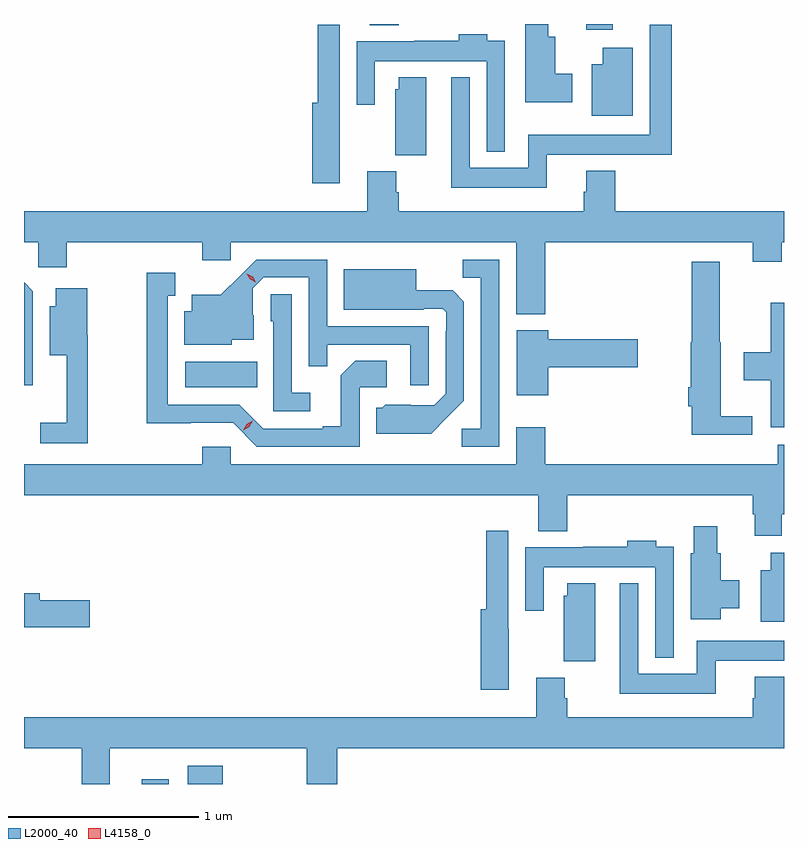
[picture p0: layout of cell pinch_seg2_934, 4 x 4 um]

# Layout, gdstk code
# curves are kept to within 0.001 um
import gdstk
lib = gdstk.Library(unit=1e-6, precision=1e-09)
def R(c, l, rs):  # rectangles x0, y0, x1, y1
    for r in rs: c.add(gdstk.rectangle(r[:2], r[2:], *l))
def P(c, l, *ps):  # polygons
    for p in ps: c.add(gdstk.Polygon(p, *l))
L2000_40 = (2000, 40)
L4158_0 = (4158, 0)

pinch_seg2_934 = lib.new_cell('pinch_seg2_934')
R(pinch_seg2_934, L2000_40, [(325.625,652.777,325.768,652.801), (325.868,652.777,326.053,652.873), (325.854,654.866,326.234,655), (327.965,656.748,328.105,656.777), (326.825,656.771,326.978,656.777)])
P(pinch_seg2_934, L2000_40, [(327.892,656.514),(327.802,656.514),(327.802,656.71),(327.766,656.71),(327.766,656.777),(327.644,656.777),(327.644,656.366),(327.892,656.366)],
  [(326.668,656.258),(326.667,656.258),(326.667,656.773),(326.551,656.773),(326.551,656.362),(326.522,656.362),(326.522,655.938),(326.668,655.938)],
  [(327.758,656.09),(328.292,656.09),(328.292,656.088),(328.415,656.088),(328.415,656.773),(328.299,656.773),(328.299,656.194),(327.66,656.194),(327.66,656.02),(327.351,656.02),(327.351,656.497),(327.254,656.497),(327.254,655.916),(327.758,655.916)],
  [(327.537,656.689),(327.445,656.689),(327.445,656.722),(327.293,656.722),(327.293,656.689),(327.061,656.689),(327.061,656.686),(326.757,656.686),(326.757,656.352),(326.853,656.352),(326.853,656.582),(327.441,656.582),(327.441,656.105),(327.537,656.105)],
  [(328.21,656.653),(328.052,656.653),(328.052,656.566),(327.995,656.566),(327.995,656.294),(328.21,656.294)],
  [(327.124,656.497),(326.978,656.497),(326.978,656.433),(326.96,656.433),(326.96,656.086),(327.124,656.086)],
  [(327.749,655.628),(328.841,655.628),(328.841,655.526),(328.994,655.526),(328.994,655.628),(329.006,655.628),(329.006,655.792),(328.118,655.792),(328.118,656.005),(327.965,656.005),(327.965,655.893),(327.953,655.893),(327.953,655.792),(326.978,655.792),(326.978,655.892),(326.965,655.892),(326.965,656.001),(326.813,656.001),(326.813,655.792),(325.006,655.792),(325.006,655.628),(325.08,655.628),(325.08,655.497),(325.232,655.497),(325.232,655.628),(325.943,655.628),(325.943,655.533),(326.094,655.533),(326.094,655.628),(327.596,655.628),(327.596,655.25),(327.749,655.25)],
  [(327.135,655.185),(326.601,655.185),(326.601,655.536),(326.228,655.536),(326.041,655.351),(325.889,655.351),(325.889,655.264),(325.85,655.264),(325.85,655.088),(326.1,655.088),(326.1,655.115),(326.215,655.115),(326.215,655.244),(326.211,655.244),(326.211,655.386),(326.268,655.443),(326.505,655.443),(326.505,654.976),(326.603,654.976),(326.603,655.089),(327.039,655.089),(327.039,654.876),(327.135,654.876)],
  [(327.507,655.536),(327.316,655.536),(327.316,655.441),(327.411,655.441),(327.411,654.648),(327.309,654.648),(327.309,654.552),(327.507,654.552)],
  [(328.84,654.713),(328.672,654.713),(328.672,655.101),(328.669,655.101),(328.669,655.525),(328.52,655.525),(328.52,655.101),(328.514,655.101),(328.514,654.865),(328.502,654.865),(328.502,654.765),(328.52,654.765),(328.52,654.614),(328.84,654.614)],
  [(327.229,654.701),(327.321,654.794),(327.321,655.316),(327.262,655.375),(327.07,655.375),(327.07,655.486),(326.69,655.486),(326.69,655.274),(327.11,655.274),(327.11,655.278),(327.21,655.278),(327.228,655.26),(327.228,655.16),(327.225,655.16),(327.225,654.831),(327.165,654.771),(326.908,654.772),(326.892,654.756),(326.861,654.756),(326.861,654.62),(327.149,654.62)],
  [(326.772,654.864),(326.914,654.864),(326.914,655.004),(326.749,655.004),(326.673,654.928),(326.673,654.661),(326.579,654.661),(326.579,654.648),(326.265,654.648),(326.139,654.774),(325.762,654.774),(325.762,655.347),(325.801,655.347),(325.801,655.468),(325.651,655.468),(325.651,654.677),(326.106,654.678),(326.232,654.552),(326.772,654.552)],
  [(325.053,655.371),(325.006,655.418),(325.006,654.876),(325.053,654.876)],
  [(325.342,655.138),(325.338,655.138),(325.338,655.387),(325.172,655.387),(325.172,655.291),(325.142,655.291),(325.142,655.034),(325.232,655.034),(325.232,654.679),(325.092,654.679),(325.092,654.57),(325.342,654.57)],
  [(326.512,654.835),(326.415,654.835),(326.415,655.355),(326.304,655.355),(326.304,655.212),(326.319,655.212),(326.319,654.738),(326.512,654.738)],
  [(329.006,655.31),(328.936,655.31),(328.936,655.05),(328.794,655.05),(328.794,654.902),(328.936,654.902),(328.936,654.654),(329.006,654.654)],
  [(327.766,654.971),(328.237,654.971),(328.237,655.118),(327.766,655.118),(327.766,655.165),(327.599,655.165),(327.599,654.822),(327.766,654.822)],
  [(328.993,654.198),(329.006,654.198),(329.006,654.562),(328.973,654.562),(328.973,654.46),(327.749,654.46),(327.749,654.655),(327.596,654.655),(327.596,654.46),(326.094,654.46),(326.094,654.553),(325.943,654.553),(325.943,654.46),(325.006,654.46),(325.006,654.296),(327.713,654.296),(327.713,654.107),(327.866,654.107),(327.866,654.296),(328.841,654.296),(328.841,654.198),(328.853,654.198),(328.853,654.084),(328.993,654.084)],
  [(328.672,653.702),(328.771,653.702),(328.771,653.85),(328.672,653.85),(328.672,653.991),(328.654,653.991),(328.654,654.133),(328.532,654.133),(328.532,653.991),(328.514,653.991),(328.514,653.643),(328.672,653.643)],
  [(327.556,653.594),(327.555,653.594),(327.555,654.109),(327.439,654.109),(327.439,653.698),(327.41,653.698),(327.41,653.274),(327.556,653.274)],
  [(328.425,654.025),(328.333,654.025),(328.333,654.058),(328.181,654.058),(328.181,654.025),(327.949,654.025),(327.949,654.022),(327.645,654.022),(327.645,653.688),(327.741,653.688),(327.741,653.918),(328.329,653.918),(328.329,653.441),(328.425,653.441)],
  [(329.006,653.995),(328.937,653.995),(328.937,653.902),(328.883,653.902),(328.883,653.63),(329.006,653.63)],
  [(328.012,653.833),(327.866,653.833),(327.866,653.769),(327.848,653.769),(327.848,653.422),(328.012,653.422)],
  [(328.646,653.426),(329.006,653.426),(329.006,653.53),(328.548,653.53),(328.548,653.356),(328.239,653.356),(328.239,653.833),(328.142,653.833),(328.142,653.252),(328.646,653.252)],
  [(325.351,653.744),(325.09,653.744),(325.09,653.78),(325.006,653.78),(325.006,653.602),(325.351,653.602)],
  [(325.456,652.964),(326.494,652.964),(326.494,652.777),(326.654,652.777),(326.654,652.964),(329.006,652.964),(329.006,653.341),(328.853,653.341),(328.853,653.229),(328.841,653.229),(328.841,653.128),(327.866,653.128),(327.866,653.228),(327.853,653.228),(327.853,653.337),(327.701,653.337),(327.701,653.128),(325.006,653.128),(325.006,652.964),(325.309,652.964),(325.309,652.777),(325.456,652.777)])
P(pinch_seg2_934, L4158_0, [(326.227,655.418),(326.196,655.434),(326.179,655.463),(326.179,655.463),(326.179,655.463),(326.21,655.448),(326.227,655.419),(326.227,655.418)],
  [(326.16,654.638),(326.16,654.638),(326.178,654.671),(326.21,654.69),(326.21,654.69),(326.21,654.689),(326.192,654.657),(326.16,654.638)])

lib.write_gds('pinch_seg2_934.gds')
